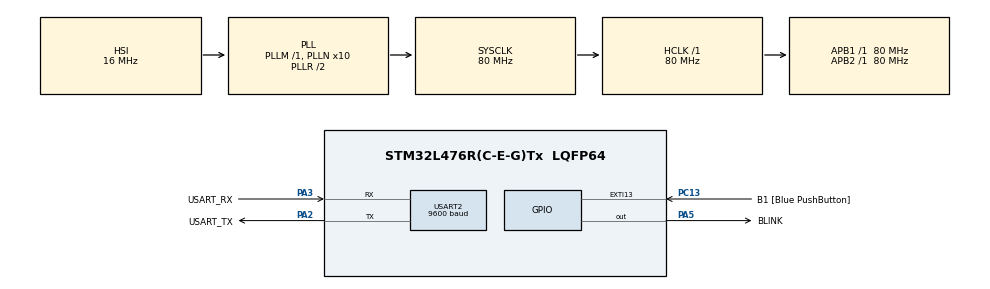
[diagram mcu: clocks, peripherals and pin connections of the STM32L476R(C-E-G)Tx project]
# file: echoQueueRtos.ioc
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FREERTOS.MEMORY_ALLOCATION=2
FREERTOS.Tasks01=defaultTask,0,128,StartDefaultTask,Default,NULL,Static,defaultTaskBuffer,defaultTaskControlBlock
FREERTOS.configTOTAL_HEAP_SIZE=8000
FREERTOS.configUSE_NEWLIB_REENTRANT=1
Mcu.Family=STM32L4
Mcu.Name=STM32L476R(C-E-G)Tx
Mcu.Package=LQFP64
NVIC.PriorityGroup=NVIC_PRIORITYGROUP_4
NVIC.TIM6_DAC_IRQn=true\:15\:0\:false\:false\:true\:false\:false\:true\:true
NVIC.TimeBase=TIM6_DAC_IRQn
NVIC.TimeBaseIP=TIM6
NVIC.USART2_IRQn=true\:5\:0\:false\:false\:true\:true\:true\:true\:true
PA13\ (JTMS-SWDIO).GPIO_Label=TMS
PA13\ (JTMS-SWDIO).Mode=Serial_Wire
PA13\ (JTMS-SWDIO).Signal=SYS_JTMS-SWDIO
PA14\ (JTCK-SWCLK).GPIO_Label=TCK
PA14\ (JTCK-SWCLK).Mode=Serial_Wire
PA14\ (JTCK-SWCLK).Signal=SYS_JTCK-SWCLK
PA2.GPIO_Label=USART_TX
PA2.GPIO_Mode=GPIO_MODE_AF_PP
PA2.GPIO_PuPd=GPIO_NOPULL
PA2.GPIO_Speed=GPIO_SPEED_FREQ_VERY_HIGH
PA2.Mode=Asynchronous
PA2.Signal=USART2_TX
PA3.GPIO_Label=USART_RX
PA3.GPIO_Mode=GPIO_MODE_AF_PP
PA3.GPIO_PuPd=GPIO_NOPULL
PA3.GPIO_Speed=GPIO_SPEED_FREQ_VERY_HIGH
PA3.Mode=Asynchronous
PA3.Signal=USART2_RX
PA5.GPIO_Label=BLINK
PA5.GPIO_ModeDefaultOutputPP=GPIO_MODE_OUTPUT_PP
PA5.GPIO_PuPd=GPIO_NOPULL
PA5.GPIO_Speed=GPIO_SPEED_FREQ_LOW
PA5.Signal=GPIO_Output
PB3\ (JTDO-TRACESWO).GPIO_Label=SWO
PB3\ (JTDO-TRACESWO).Signal=SYS_JTDO-SWO
PC13.GPIO_Label=B1 [Blue PushButton]
PC13.GPIO_ModeDefaultEXTI=GPIO_MODE_IT_FALLING
PC13.GPIO_PuPd=GPIO_NOPULL
PC13.Signal=GPXTI13
PC14-OSC32_IN\ (PC14).Mode=LSE-External-Oscillator
PC14-OSC32_IN\ (PC14).Signal=RCC_OSC32_IN
PC15-OSC32_OUT\ (PC15).Mode=LSE-External-Oscillator
PC15-OSC32_OUT\ (PC15).Signal=RCC_OSC32_OUT
PH0-OSC_IN\ (PH0).Signal=RCC_OSC_IN
PH1-OSC_OUT\ (PH1).Signal=RCC_OSC_OUT
ProjectManager.HeapSize=0x1200
ProjectManager.StackSize=0x1400
ProjectManager.TargetToolchain=STM32CubeIDE
RCC.ADCFreq_Value=64000000
RCC.AHBFreq_Value=80000000
RCC.APB1Freq_Value=80000000
RCC.APB1TimFreq_Value=80000000
RCC.APB2Freq_Value=80000000
RCC.APB2TimFreq_Value=80000000
RCC.CortexFreq_Value=80000000
RCC.HCLKFreq_Value=80000000
RCC.HSE_VALUE=8000000
RCC.HSI_VALUE=16000000
RCC.MSI_VALUE=4000000
RCC.PLLN=10
RCC.PLLSourceVirtual=RCC_PLLSOURCE_HSI
RCC.PREFETCH_ENABLE=1
RCC.SYSCLKFreq_VALUE=80000000
RCC.SYSCLKSource=RCC_SYSCLKSOURCE_PLLCLK
RCC.USBFreq_Value=64000000
RCC.VCOOutputFreq_Value=160000000
USART2.BaudRate=9600
USART2.VirtualMode-Asynchronous=VM_ASYNC
VP_FREERTOS_VS_CMSIS_V1.Mode=CMSIS_V1
VP_SYS_VS_tim6.Mode=TIM6
board=NUCLEO-L476RG

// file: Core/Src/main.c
/* USER CODE BEGIN Header */
/* USER CODE END Header */
#include "main.h"
#include "cmsis_os.h"

 UART_HandleTypeDef huart2;

osThreadId defaultTaskHandle;
uint32_t defaultTaskBuffer[ 128 ];
osStaticThreadDef_t defaultTaskControlBlock;

void SystemClock_Config(void);
static void MX_GPIO_Init(void);
static void MX_USART2_UART_Init(void);
void StartDefaultTask(void const * argument);

/* USER CODE BEGIN 0 */

#define ECHO_SEC (2)
#define ECHODELAY_MS ((uint32_t)ECHO_SEC*1000)
#define NBUFFECHO (9600/10*ECHO_SEC)

#define NQUEUE 	(9600/10*10/1000+1)

volatile uint8_t rxEchoISR[1+1];//в него Rx драйвер IRQ
volatile uint8_t bTxEchoISR[1+1];//буфер передачи

typedef struct{
	uint32_t time;
	uint8_t data;
}data_t;

data_t RxData[NBUFFECHO];
data_t RxQ[NQUEUE];	 //буфер для переноса из очереди в рабочий RxData[]

static size_t timeTail=0;
static size_t RxEchoTail=0;
static size_t nTxDataQ=0;
static size_t TxIndex=0;

volatile uint8_t EchoToTransfer=0;

xQueueHandle rxQueueEchoData;

#define phUartEcho &huart2

#define ECHOUART USART2

void HAL_UART_TxCpltCallback(UART_HandleTypeDef *huart)
{
	uint16_t TxXferCount=huart->TxXferCount;
	uint16_t TxXferSize=huart->TxXferSize;

	if (huart-> Instance == ECHOUART) // Echo
	{
		if(TxXferSize == 0 ) // какая-то ошибка
		{
			HAL_UART_Transmit_IT(huart, (uint8_t *)(bTxEchoISR),EchoToTransfer);
		}
		else if (TxXferSize > 0 & TxXferCount < TxXferSize)
		{
			if(TxXferCount>0)
				HAL_UART_Transmit_IT(huart, (uint8_t *)(bTxEchoISR+TxXferSize-TxXferCount),TxXferCount);
		}
	}

}

void HAL_UART_RxCpltCallback(UART_HandleTypeDef *huart)
{
	if (huart-> Instance == ECHOUART)
	{
		uint16_t RxXferCount=huart->RxXferCount;
		uint16_t RxXferSize=huart->RxXferSize;

		if(RxXferSize == 0)
		{
			printf("HAL_UART_RxCpltCallback Echo????");
		}
		else if(RxXferSize > 0 && RxXferCount < RxXferSize)
		{
			BaseType_t xHigherPriorityTaskWoken;
			xHigherPriorityTaskWoken = pdFALSE;

			for(int ii=0; ii<  (RxXferSize-RxXferCount); ii++)
			{
				data_t tmp;
					tmp.time = HAL_GetTick(); //захват времени, по соотношению к 2 сек, шкала времени избыточна
					tmp.data = rxEchoISR[ii];
				xQueueSendToBackFromISR(rxQueueEchoData, &tmp , &xHigherPriorityTaskWoken );
			}

			if( xHigherPriorityTaskWoken )
			{
				portYIELD_FROM_ISR(xHigherPriorityTaskWoken);
			}

		}
		HAL_UART_Receive_IT(huart, (uint8_t *)(rxEchoISR),1);
	}
}

void HAL_UART_ErrorCallback(UART_HandleTypeDef *huart)
{
	if (huart-> Instance == ECHOUART)
	{
		uint16_t RxXferCount=huart->RxXferCount;
		uint16_t RxXferSize=huart->RxXferSize;

		printf("< HAL_UART_ErrorCallback ECHOUART\n");
		printf("< RxXferCount=%d RxXferSize=%d\n",RxXferCount,RxXferSize);

		HAL_UART_Receive_IT(phUartEcho, (uint8_t *)(rxEchoISR),1);
	}

}
void HAL_UART_AbortReceiveCpltCallback(UART_HandleTypeDef *huart)
{
	printf("HAL_UART_AbortReceiveCpltCallback \n");
}
void HAL_UART_AbortTransmitCpltCallback(UART_HandleTypeDef *huart)
{
	printf("HAL_UART_AbortTransmitCpltCallback \n");
}
void HAL_UART_AbortCpltCallback(UART_HandleTypeDef *huart)
{
	printf("HAL_UART_AbortCpltCallback \n");
}

/* USER CODE END 0 */

int main(void)
{

  /* MCU Configuration--------------------------------------------------------*/

  /* Reset of all peripherals, Initializes the Flash interface and the Systick. */
  HAL_Init();

  /* Configure the system clock */
  SystemClock_Config();

  /* Initialize all configured peripherals */
  MX_GPIO_Init();
  MX_USART2_UART_Init();

  /* Create the thread(s) */
  /* definition and creation of defaultTask */
  osThreadStaticDef(defaultTask, StartDefaultTask, osPriorityNormal, 0, 128, defaultTaskBuffer, &defaultTaskControlBlock);
  defaultTaskHandle = osThreadCreate(osThread(defaultTask), NULL);

  /* Start scheduler */
  osKernelStart();

  /* We should never get here as control is now taken by the scheduler */
  /* Infinite loop */

}

void SystemClock_Config(void)
{
  RCC_OscInitTypeDef RCC_OscInitStruct = {0};
  RCC_ClkInitTypeDef RCC_ClkInitStruct = {0};

  /** Configure the main internal regulator output voltage
  */
  if (HAL_PWREx_ControlVoltageScaling(PWR_REGULATOR_VOLTAGE_SCALE1) != HAL_OK)
  {
    Error_Handler();
  }

  /** Initializes the RCC Oscillators according to the specified parameters
  * in the RCC_OscInitTypeDef structure.
  */
  RCC_OscInitStruct.OscillatorType = RCC_OSCILLATORTYPE_HSI;
  RCC_OscInitStruct.HSIState = RCC_HSI_ON;
  RCC_OscInitStruct.HSICalibrationValue = RCC_HSICALIBRATION_DEFAULT;
  RCC_OscInitStruct.PLL.PLLState = RCC_PLL_ON;
  RCC_OscInitStruct.PLL.PLLSource = RCC_PLLSOURCE_HSI;
  RCC_OscInitStruct.PLL.PLLM = 1;
  RCC_OscInitStruct.PLL.PLLN = 10;
  RCC_OscInitStruct.PLL.PLLP = RCC_PLLP_DIV7;
  RCC_OscInitStruct.PLL.PLLQ = RCC_PLLQ_DIV2;
  RCC_OscInitStruct.PLL.PLLR = RCC_PLLR_DIV2;
  if (HAL_RCC_OscConfig(&RCC_OscInitStruct) != HAL_OK)
  {
    Error_Handler();
  }

  /** Initializes the CPU, AHB and APB buses clocks
  */
  RCC_ClkInitStruct.ClockType = RCC_CLOCKTYPE_HCLK|RCC_CLOCKTYPE_SYSCLK
                              |RCC_CLOCKTYPE_PCLK1|RCC_CLOCKTYPE_PCLK2;
  RCC_ClkInitStruct.SYSCLKSource = RCC_SYSCLKSOURCE_PLLCLK;
  RCC_ClkInitStruct.AHBCLKDivider = RCC_SYSCLK_DIV1;
  RCC_ClkInitStruct.APB1CLKDivider = RCC_HCLK_DIV1;
  RCC_ClkInitStruct.APB2CLKDivider = RCC_HCLK_DIV1;

  if (HAL_RCC_ClockConfig(&RCC_ClkInitStruct, FLASH_LATENCY_4) != HAL_OK)
  {
    Error_Handler();
  }
}

static void MX_USART2_UART_Init(void)
{

  huart2.Instance = USART2;
  huart2.Init.BaudRate = 9600;
  huart2.Init.WordLength = UART_WORDLENGTH_8B;
  huart2.Init.StopBits = UART_STOPBITS_1;
  huart2.Init.Parity = UART_PARITY_NONE;
  huart2.Init.Mode = UART_MODE_TX_RX;
  huart2.Init.HwFlowCtl = UART_HWCONTROL_NONE;
  huart2.Init.OverSampling = UART_OVERSAMPLING_16;
  huart2.Init.OneBitSampling = UART_ONE_BIT_SAMPLE_DISABLE;
  huart2.AdvancedInit.AdvFeatureInit = UART_ADVFEATURE_NO_INIT;
  if (HAL_UART_Init(&huart2) != HAL_OK)
  {
    Error_Handler();
  }

}

static void MX_GPIO_Init(void)
{
  GPIO_InitTypeDef GPIO_InitStruct = {0};

  /* GPIO Ports Clock Enable */
  __HAL_RCC_GPIOC_CLK_ENABLE();
  __HAL_RCC_GPIOH_CLK_ENABLE();
  __HAL_RCC_GPIOA_CLK_ENABLE();
  __HAL_RCC_GPIOB_CLK_ENABLE();

  /*Configure GPIO pin Output Level */
  HAL_GPIO_WritePin(BLINK_GPIO_Port, BLINK_Pin, GPIO_PIN_RESET);

  /*Configure GPIO pin : B1_Pin */
  GPIO_InitStruct.Pin = B1_Pin;
  GPIO_InitStruct.Mode = GPIO_MODE_IT_FALLING;
  GPIO_InitStruct.Pull = GPIO_NOPULL;
  HAL_GPIO_Init(B1_GPIO_Port, &GPIO_InitStruct);

  /*Configure GPIO pin : BLINK_Pin */
  GPIO_InitStruct.Pin = BLINK_Pin;
  GPIO_InitStruct.Mode = GPIO_MODE_OUTPUT_PP;
  GPIO_InitStruct.Pull = GPIO_NOPULL;
  GPIO_InitStruct.Speed = GPIO_SPEED_FREQ_LOW;
  HAL_GPIO_Init(BLINK_GPIO_Port, &GPIO_InitStruct);

}

void StartDefaultTask(void const * argument)
{
  /* USER CODE BEGIN 5 */

	  /* Infinite loop */
	  for(;;)
	  {

			HAL_StatusTypeDef res;

			rxQueueEchoData = xQueueCreate( NQUEUE , sizeof( data_t ) );

			if( rxQueueEchoData == NULL )
				printf("rxQueueEcho Queue was not created and must not be used.\n");

			// Обязательно сначала запускаем прием
			if(res=HAL_UART_Receive_IT(phUartEcho, (uint8_t *)rxEchoISR, 1) == HAL_OK)
				; //printf("HAL_OK\n");
			else if(res = HAL_ERROR)
				printf("Echo HAL_ERROR\n");
			else  if(res = HAL_BUSY)
				printf("Echo HAL_BUSY\n");

			const TickType_t xMaxExpectedBlockTime = pdMS_TO_TICKS( 1 );

			for(;;)
			{
				uint8_t numbsData = xQueueReceive(rxQueueEchoData, (data_t*)&RxQ,  xMaxExpectedBlockTime);
				if(numbsData > 0){
					nTxDataQ+=numbsData;
					if ( nTxDataQ >= NBUFFECHO ){
						printf("чего-то пошло не то, данные не ушли!");
					}
					for(int ii=0; ii< numbsData ; ii++)
					{
						RxData[timeTail].time=RxQ[ii].time;
						RxData[timeTail].data=RxQ[ii].data;
						if ( ++timeTail == NBUFFECHO ){
							timeTail = 0 ;
						}
					}

				}//забор из очередей
				//
				if (nTxDataQ){ //имеются данные для передачи
					volatile uint32_t time=HAL_GetTick();
					if (  ( time-RxData[TxIndex].time ) >= ECHODELAY_MS  ){

						//просто проверка Tx буфера
						if ( phUartEcho.TxXferCount > 0 ){
							vTaskDelay(1);//и опустошение, если биток, не блокируя, но можно while+timeout
						}

						if (HAL_UART_Transmit_IT(phUartEcho, (uint8_t *)&RxData[TxIndex].data,1 ) != HAL_OK);

						TxIndex++;
						if (TxIndex == NBUFFECHO){
							TxIndex = 0 ;
						}
						nTxDataQ--;
						if( nTxDataQ > NBUFFECHO ){
							printf("чего-то не то, nTxDataQ<0!");
						}
					}
				}
					#define fromMX(xx) xx##_GPIO_Port, xx##_Pin
					static char c;
				vTaskDelay( pdMS_TO_TICKS(1) );
					if ((++c & 63) == 63){
						HAL_GPIO_TogglePin(fromMX(BLINK));//работает! 63мс+блок очереди
					}
			}
	  }

  /* USER CODE END 5 */
}

void HAL_TIM_PeriodElapsedCallback(TIM_HandleTypeDef *htim)
{
  if (htim->Instance == TIM6) {
    HAL_IncTick();
  }
}

void Error_Handler(void)
{
}
